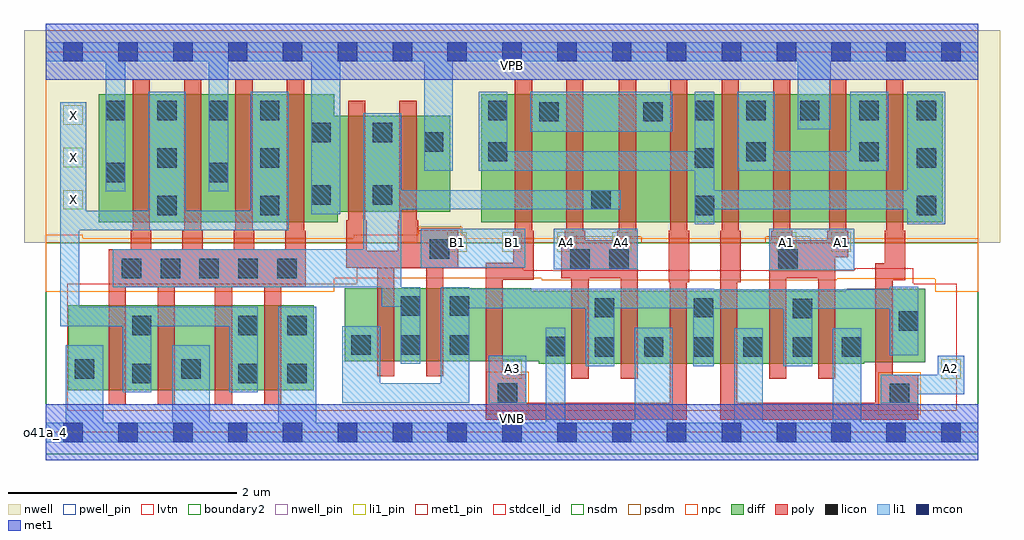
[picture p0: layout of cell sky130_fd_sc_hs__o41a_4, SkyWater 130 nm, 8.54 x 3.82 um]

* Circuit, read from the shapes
.subckt sky130_fd_sc_hs__o41a_4 A1 A2 A3 A4 B1 VGND VNB VPB VPWR X
XM1 X n1 VGND VNB sky130_fd_pr__nfet_01v8_lvt w=0.74 l=0.15 m=4
XM2 n1 B1 n2 VNB sky130_fd_pr__nfet_01v8_lvt w=0.64 l=0.15 m=2
XM3 VGND A3 n2 VNB sky130_fd_pr__nfet_01v8_lvt w=0.64 l=0.15 m=2
XM4 n2 A4 VGND VNB sky130_fd_pr__nfet_01v8_lvt w=0.64 l=0.15 m=2
XM5 VGND A2 n2 VNB sky130_fd_pr__nfet_01v8_lvt w=0.64 l=0.15 m=2
XM6 n2 A1 VGND VNB sky130_fd_pr__nfet_01v8_lvt w=0.64 l=0.15 m=2
XM7 X n1 VPWR VPB sky130_fd_pr__pfet_01v8 w=1.12 l=0.15 m=4
XM8 n1 B1 VPWR VPB sky130_fd_pr__pfet_01v8 w=0.84 l=0.15 m=2
XM9 n3 A3 n4 VPB sky130_fd_pr__pfet_01v8 w=1.12 l=0.15 m=2
XM10 n1 A4 n3 VPB sky130_fd_pr__pfet_01v8 w=1.12 l=0.15 m=2
XM11 n5 A2 n4 VPB sky130_fd_pr__pfet_01v8 w=1.12 l=0.15 m=2
XM12 VPWR A1 n5 VPB sky130_fd_pr__pfet_01v8 w=1.12 l=0.15 m=2
.ends

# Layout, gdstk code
import gdstk
lib = gdstk.Library(unit=1e-6, precision=1e-09)
def R(c, l, rs):  # rectangles x0, y0, x1, y1
    for r in rs: c.add(gdstk.rectangle(r[:2], r[2:], *l))
def A(c, l, x, y, w, h, nx, ny, dx, dy):  # array of equal rectangles
    R(c, l, [(x+i*dx, y+j*dy, x+i*dx+w, y+j*dy+h) for i in range(nx) for j in range(ny)])
def P(c, l, *ps):  # polygons
    for p in ps: c.add(gdstk.Polygon(p, *l))
nwell_pin = (64, 16)
nwell = (64, 20)
diff = (65, 20)
poly = (66, 20)
licon = (66, 44)
li1_pin = (67, 16)
li1 = (67, 20)
mcon = (67, 44)
met1_pin = (68, 16)
met1 = (68, 20)
stdcell_id = (81, 4)
nsdm = (93, 44)
psdm = (94, 20)
npc = (95, 20)
pwell_pin = (122, 16)
lvtn = (125, 44)
boundary2 = (236, 0)

sky130_fd_sc_hs__o41a_4 = lib.new_cell('sky130_fd_sc_hs__o41a_4')
R(sky130_fd_sc_hs__o41a_4, nwell_pin, [(0,3.085,8.16,3.33)])
R(sky130_fd_sc_hs__o41a_4, nwell, [(-0.19,1.66,8.35,3.52)])
R(sky130_fd_sc_hs__o41a_4, diff, [(0.195,0.37,2.345,1.11), (3.81,1.84,7.85,2.96)])
P(sky130_fd_sc_hs__o41a_4, diff, [(3.54,2.77),(2.525,2.77),(2.525,2.96),(0.465,2.96),(0.465,1.84),(2.555,1.84),(2.555,1.93),(3.54,1.93)],
  [(7.695,1.255),(7.01,1.255),(7.01,1.24),(4.25,1.24),(4.25,1.26),(2.615,1.26),(2.615,0.62),(4.315,0.62),(4.315,0.6),(7.16,0.6),(7.16,0.615),(7.695,0.615)])
P(sky130_fd_sc_hs__o41a_4, poly, [(2.275,1.765),(2.26,1.765),(2.26,3.09),(2.11,3.09),(2.11,1.765),(2.095,1.765),(2.095,1.6),(1.825,1.6),(1.825,1.765),(1.81,1.765),(1.81,3.09),(1.66,3.09),(1.66,1.765),(1.645,1.765),(1.645,1.6),(1.375,1.6),(1.375,1.765),(1.36,1.765),(1.36,3.09),(1.21,3.09),(1.21,1.765),(1.195,1.765),(1.195,1.6),(0.925,1.6),(0.925,1.765),(0.91,1.765),(0.91,3.09),(0.76,3.09),(0.76,1.765),(0.745,1.765),(0.745,1.6),(0.55,1.6),(0.55,0.24),(0.7,0.24),(0.7,1.27),(0.98,1.27),(0.98,0.24),(1.13,0.24),(1.13,1.27),(1.48,1.27),(1.48,0.24),(1.63,0.24),(1.63,1.27),(1.91,1.27),(1.91,0.24),(2.06,0.24),(2.06,1.27),(2.275,1.27)],
  [(3.61,1.77),(3.26,1.77),(3.26,1.855),(3.245,1.855),(3.245,2.9),(3.095,2.9),(3.095,1.855),(3.08,1.855),(3.08,1.59),(2.81,1.59),(2.81,1.855),(2.795,1.855),(2.795,2.9),(2.645,2.9),(2.645,1.855),(2.63,1.855),(2.63,1.44),(2.9,1.44),(2.9,0.49),(3.05,0.49),(3.05,1.44),(3.33,1.44),(3.33,0.49),(3.48,0.49),(3.48,1.44),(3.61,1.44)],
  [(5.18,1.765),(5.165,1.765),(5.165,3.09),(5.015,3.09),(5.015,1.765),(5,1.765),(5,1.68),(4.72,1.68),(4.72,1.765),(4.705,1.765),(4.705,3.09),(4.555,3.09),(4.555,1.765),(4.54,1.765),(4.54,1.68),(4.51,1.68),(4.51,1.35),(4.6,1.35),(4.6,0.47),(4.75,0.47),(4.75,1.35),(5.03,1.35),(5.03,0.47),(5.18,0.47)],
  [(5.63,1.765),(5.615,1.765),(5.615,3.09),(5.465,3.09),(5.465,1.765),(5.45,1.765),(5.45,1.315),(5.46,1.315),(5.46,0.26),(4.205,0.26),(4.205,0.51),(4,0.51),(4,1.335),(4.27,1.335),(4.27,1.765),(4.255,1.765),(4.255,3.09),(4.105,3.09),(4.105,1.765),(4.09,1.765),(4.09,1.485),(3.85,1.485),(3.85,0.11),(5.61,0.11),(5.61,1.315),(5.63,1.315)],
  [(7.635,0.505),(7.41,0.505),(7.41,1.33),(7.52,1.33),(7.52,1.765),(7.505,1.765),(7.505,3.09),(7.355,3.09),(7.355,1.765),(7.34,1.765),(7.34,1.48),(7.26,1.48),(7.26,0.26),(6.05,0.26),(6.05,1.315),(6.08,1.315),(6.08,1.765),(6.065,1.765),(6.065,3.09),(5.915,3.09),(5.915,1.765),(5.9,1.765),(5.9,0.11),(7.635,0.11)],
  [(7.02,1.765),(7.005,1.765),(7.005,3.09),(6.855,3.09),(6.855,1.765),(6.84,1.765),(6.84,1.68),(6.53,1.68),(6.53,1.765),(6.515,1.765),(6.515,3.09),(6.365,3.09),(6.365,1.765),(6.35,1.765),(6.35,1.68),(6.33,1.68),(6.33,0.47),(6.48,0.47),(6.48,1.35),(6.76,1.35),(6.76,0.47),(6.91,0.47),(6.91,1.53),(7.02,1.53)])
A(sky130_fd_sc_hs__o41a_4, licon, 5.235, 0.66, 0.17, 0.17, 3, 1, 0.435, 0)
A(sky130_fd_sc_hs__o41a_4, licon, 2.675, 0.68, 0.17, 0.17, 3, 1, 0.43, 0)
A(sky130_fd_sc_hs__o41a_4, licon, 0.665, 1.35, 0.17, 0.17, 5, 1, 0.34, 0)
A(sky130_fd_sc_hs__o41a_4, licon, 5.68, 1.9, 0.17, 0.17, 1, 3, 0, 0.415)
A(sky130_fd_sc_hs__o41a_4, licon, 7.62, 1.9, 0.17, 0.17, 1, 3, 0, 0.415)
A(sky130_fd_sc_hs__o41a_4, licon, 0.525, 2.73, 0.17, 0.17, 4, 1, 0.45, 0)
R(sky130_fd_sc_hs__o41a_4, licon, [(7.385,0.255,7.555,0.425), (3.955,0.26,4.125,0.43), (0.755,0.43,0.925,0.6), (1.685,0.43,1.855,0.6), (2.115,0.43,2.285,0.6), (0.255,0.47,0.425,0.64), (1.185,0.47,1.355,0.64), (4.805,0.66,4.975,0.83), (6.535,0.66,6.705,0.83), (6.965,0.66,7.135,0.83), (4.375,0.665,4.545,0.835), (0.755,0.85,0.925,1.02), (1.685,0.85,1.855,1.02), (2.115,0.85,2.285,1.02), (7.465,0.89,7.635,1.06), (6.535,1,6.705,1.17), (4.805,1.005,4.975,1.175), (5.67,1.005,5.84,1.175), (3.105,1.02,3.275,1.19), (3.535,1.02,3.705,1.19), (4.59,1.43,4.76,1.6), (4.93,1.43,5.1,1.6), (6.41,1.43,6.58,1.6), (3.36,1.52,3.53,1.69), (0.975,1.9,1.145,2.07), (1.875,1.9,2.045,2.07), (4.775,1.95,4.945,2.12), (2.325,1.99,2.495,2.16), (2.86,1.99,3.03,2.16), (0.525,2.19,0.695,2.36), (1.425,2.19,1.595,2.36), (0.975,2.315,1.145,2.485), (1.875,2.315,2.045,2.485), (3.87,2.37,4.04,2.54), (6.13,2.37,6.3,2.54), (7.12,2.37,7.29,2.54), (3.31,2.455,3.48,2.625), (2.325,2.54,2.495,2.71), (2.86,2.54,3.03,2.71), (4.32,2.72,4.49,2.89), (5.23,2.72,5.4,2.89), (3.87,2.73,4.04,2.9), (6.13,2.73,6.3,2.9), (6.6,2.73,6.77,2.9), (7.12,2.73,7.29,2.9)])
A(sky130_fd_sc_hs__o41a_4, li1_pin, 3.515, 1.58, 0.17, 0.17, 4, 1, 0.48, 0)
A(sky130_fd_sc_hs__o41a_4, li1_pin, 0.155, 1.95, 0.17, 0.17, 1, 3, 0, 0.37)
R(sky130_fd_sc_hs__o41a_4, li1_pin, [(3.995,0.47,4.165,0.64), (7.835,0.47,8.005,0.64), (6.395,1.58,6.565,1.75), (6.875,1.58,7.045,1.75)])
R(sky130_fd_sc_hs__o41a_4, li1, [(3.875,0.255,4.205,0.67), (6.33,1.42,7.075,1.78), (4.445,1.425,5.18,1.78), (3.28,1.44,4.195,1.78), (4.24,2.63,5.48,2.98)])
P(sky130_fd_sc_hs__o41a_4, li1, [(0,-0.085),(0,0.085),(0.175,0.085),(0.175,0.76),(0.505,0.76),(0.505,0.085),(1.105,0.085),(1.105,0.76),(1.435,0.76),(1.435,0.085),(2.035,0.085),(2.035,1.1),(2.365,1.1),(2.365,0.085),(4.375,0.085),(4.375,0.915),(4.545,0.915),(4.545,0.085),(5.155,0.085),(5.155,0.915),(5.485,0.915),(5.485,0.085),(6.025,0.085),(6.025,0.91),(6.275,0.91),(6.275,0.085),(6.885,0.085),(6.885,0.91),(7.135,0.91),(7.135,0.085),(8.16,0.085),(8.16,-0.085)],
  [(0,3.245),(0,3.415),(8.16,3.415),(8.16,3.245),(6.87,3.245),(6.87,2.65),(6.58,2.65),(6.58,3.245),(3.56,3.245),(3.56,2.29),(3.31,2.29),(3.31,3.245),(2.575,3.245),(2.575,1.91),(2.325,1.91),(2.325,3.245),(1.595,3.245),(1.595,2.11),(1.425,2.11),(1.425,3.245),(0.695,3.245),(0.695,2.11),(0.525,2.11),(0.525,3.245)],
  [(0.355,1.94),(0.895,1.94),(0.895,2.98),(1.225,2.98),(1.225,1.94),(1.795,1.94),(1.795,2.98),(2.125,2.98),(2.125,1.77),(0.295,1.77),(0.295,1.1),(1.855,1.1),(1.855,0.35),(1.605,0.35),(1.605,0.93),(0.925,0.93),(0.925,0.35),(0.675,0.35),(0.675,0.93),(0.125,0.93),(0.125,2.89),(0.355,2.89)],
  [(7.635,0.335),(7.635,0.255),(7.305,0.255),(7.305,0.505),(7.805,0.505),(7.805,0.67),(8.035,0.67),(8.035,0.335)],
  [(6.38,2.46),(7.04,2.46),(7.04,2.98),(7.37,2.98),(7.37,2.29),(6.05,2.29),(6.05,2.98),(6.38,2.98)],
  [(2.78,1.6),(2.78,2.79),(3.11,2.79),(3.11,2.12),(5.03,2.12),(5.03,1.95),(3.11,1.95),(3.11,1.27),(3.275,1.27),(3.275,0.6),(3.105,0.6),(3.105,1.1),(2.94,1.1),(2.94,1.27),(0.585,1.27),(0.585,1.6)],
  [(5.68,1.82),(5.68,2.29),(3.79,2.29),(3.79,2.98),(4.04,2.98),(4.04,2.46),(5.68,2.46),(5.68,2.98),(5.85,2.98),(5.85,2.12),(7.54,2.12),(7.54,2.98),(7.87,2.98),(7.87,1.82),(7.54,1.82),(7.54,1.95),(5.85,1.95),(5.85,1.82)],
  [(2.595,0.26),(2.595,0.93),(2.925,0.93),(2.925,0.43),(3.455,0.43),(3.455,1.27),(3.705,1.27),(3.705,1.255),(5.845,1.255),(5.845,1.25),(7.385,1.25),(7.385,1.275),(7.635,1.275),(7.635,0.675),(7.385,0.675),(7.385,1.08),(6.705,1.08),(6.705,0.58),(6.455,0.58),(6.455,1.08),(5.845,1.08),(5.845,0.58),(5.665,0.58),(5.665,1.085),(4.975,1.085),(4.975,0.58),(4.725,0.58),(4.725,1.085),(3.705,1.085),(3.705,0.26)])
A(sky130_fd_sc_hs__o41a_4, mcon, 0.155, -0.085, 0.17, 0.17, 17, 2, 0.48, 3.33)
R(sky130_fd_sc_hs__o41a_4, met1_pin, [(0,0,8.16,0.245), (0,3.085,8.16,3.33)])
R(sky130_fd_sc_hs__o41a_4, met1, [(0,-0.245,8.16,0.245), (0,3.085,8.16,3.575)])
R(sky130_fd_sc_hs__o41a_4, stdcell_id, [(0,0,8.16,3.33)])
R(sky130_fd_sc_hs__o41a_4, nsdm, [(0,-0.19,8.16,1.66)])
P(sky130_fd_sc_hs__o41a_4, psdm, [(8.16,3.52),(0,3.52),(0,1.66),(3.25,1.66),(3.25,1.8),(3.64,1.8),(3.64,1.66),(4.48,1.66),(4.48,1.71),(5.21,1.71),(5.21,1.66),(6.3,1.66),(6.3,1.71),(6.69,1.71),(6.69,1.66),(8.16,1.66)])
R(sky130_fd_sc_hs__o41a_4, npc, [(7.285,0.155,7.655,0.525), (3.855,0.16,4.225,0.53)])
P(sky130_fd_sc_hs__o41a_4, npc, [(8.16,1.7),(3.67,1.7),(3.67,1.73),(3.63,1.73),(3.63,1.79),(3.26,1.79),(3.26,1.73),(2.695,1.73),(2.695,1.7),(0.325,1.7),(0.325,1.73),(0,1.73),(0,1.23),(2.525,1.23),(2.525,1.35),(4.34,1.35),(4.34,1.33),(6.92,1.33),(6.92,1.345),(7.785,1.345),(7.785,1.23),(8.16,1.23)])
R(sky130_fd_sc_hs__o41a_4, pwell_pin, [(0,0,8.16,0.245)])
P(sky130_fd_sc_hs__o41a_4, lvtn, [(7.97,1.3),(7.59,1.3),(7.59,1.435),(7.08,1.435),(7.08,1.42),(4.18,1.42),(4.18,1.44),(2.72,1.44),(2.72,1.3),(0.19,1.3),(0.19,0.19),(7.97,0.19)])
R(sky130_fd_sc_hs__o41a_4, boundary2, [(0,0,8.16,3.33)])
sky130_fd_sc_hs__o41a_4.add(gdstk.Label('o41a_4', (0,0), layer=83, texttype=44))
sky130_fd_sc_hs__o41a_4.add(gdstk.Label('VNB', (4.08,0.123), layer=64, texttype=59))
sky130_fd_sc_hs__o41a_4.add(gdstk.Label('VPB', (4.08,3.208), layer=64, texttype=5))
sky130_fd_sc_hs__o41a_4.add(gdstk.Label('VPWR', (4.08,3.208), layer=68, texttype=5))
sky130_fd_sc_hs__o41a_4.add(gdstk.Label('VGND', (4.08,0.123), layer=68, texttype=5))
sky130_fd_sc_hs__o41a_4.add(gdstk.Label('B1', (3.6,1.665), layer=67, texttype=5))
sky130_fd_sc_hs__o41a_4.add(gdstk.Label('B1', (4.08,1.665), layer=67, texttype=5))
sky130_fd_sc_hs__o41a_4.add(gdstk.Label('X', (0.24,2.035), layer=67, texttype=5))
sky130_fd_sc_hs__o41a_4.add(gdstk.Label('X', (0.24,2.405), layer=67, texttype=5))
sky130_fd_sc_hs__o41a_4.add(gdstk.Label('X', (0.24,2.775), layer=67, texttype=5))
sky130_fd_sc_hs__o41a_4.add(gdstk.Label('A1', (6.48,1.665), layer=67, texttype=5))
sky130_fd_sc_hs__o41a_4.add(gdstk.Label('A1', (6.96,1.665), layer=67, texttype=5))
sky130_fd_sc_hs__o41a_4.add(gdstk.Label('A2', (7.92,0.555), layer=67, texttype=5))
sky130_fd_sc_hs__o41a_4.add(gdstk.Label('A3', (4.08,0.555), layer=67, texttype=5))
sky130_fd_sc_hs__o41a_4.add(gdstk.Label('A4', (4.56,1.665), layer=67, texttype=5))
sky130_fd_sc_hs__o41a_4.add(gdstk.Label('A4', (5.04,1.665), layer=67, texttype=5))

lib.write_gds('sky130_fd_sc_hs__o41a_4.gds')
